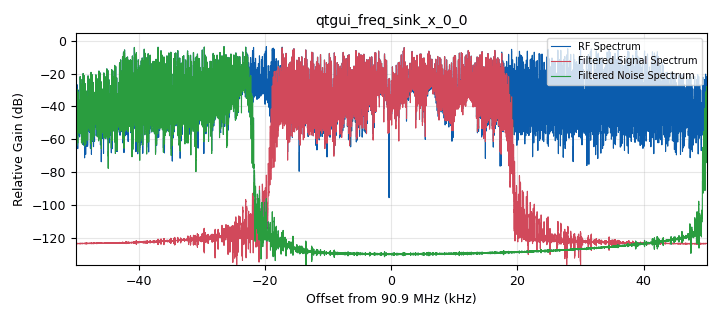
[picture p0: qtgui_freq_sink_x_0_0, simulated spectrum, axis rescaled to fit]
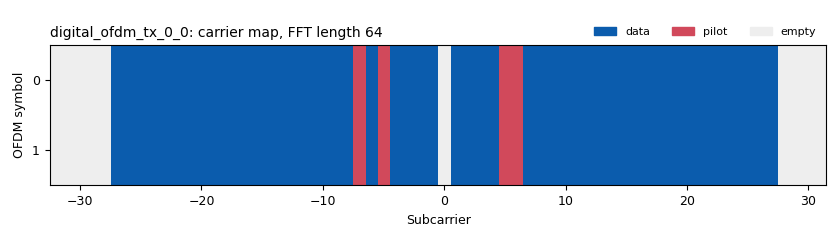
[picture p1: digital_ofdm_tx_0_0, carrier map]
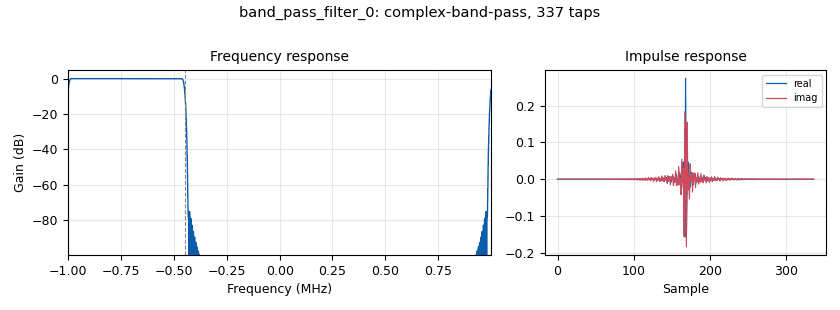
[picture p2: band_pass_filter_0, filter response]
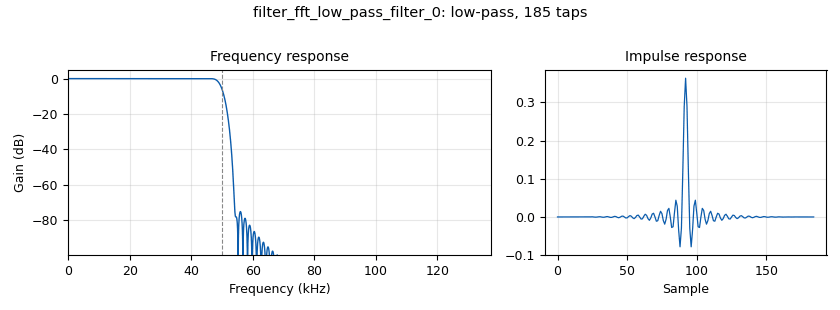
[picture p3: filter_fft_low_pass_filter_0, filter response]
options:
  parameters:
    author: amangrandhi
    generate_options: qt_gui
    id: OFDM_Signal_Analyzer
    output_language: python
    title: Not titled yet
  states: {}

blocks:
- name: cf
  id: variable
  parameters:
    value: 90.9e6
  states: {}
- name: fft_len
  id: variable
  parameters:
    value: '64'
  states: {}
- name: freq_offset
  id: variable_qtgui_range
  parameters:
    label: Frequency Offset (Multiples of Sub-carrier spacing)
    start: '-3'
    step: '.01'
    stop: '3'
    value: '0'
  states: {}
- name: intSize
  id: variable
  parameters:
    value: '250000'
  states: {}
- name: len_tag_key
  id: variable
  parameters:
    value: '"packet_len"'
  states: {}
- name: noisePowerLabel
  id: variable_qtgui_label
  parameters:
    gui_hint: 0,3,1,3
    label: 'Noise Power (dBfs): '
    type: real
    value: variable_function_probe_noise
  states: {}
- name: noise_voltage
  id: variable_qtgui_range
  parameters:
    label: Noise Amplitude
    start: '0'
    step: '.01'
    stop: '1'
    value: '0.1'
  states: {}
- name: packet_len
  id: variable
  parameters:
    value: '50'
  states: {}
- name: samp_rate
  id: variable
  parameters:
    value: '100000'
  states: {}
- name: signalPowerLabel
  id: variable_qtgui_label
  parameters:
    gui_hint: 0,0,1,3
    label: 'Signal Power (dBfs): '
    type: real
    value: variable_function_probe_signal
  states: {}
- name: snr
  id: variable_qtgui_label
  parameters:
    gui_hint: 0,6,1,3
    label: 'SNR (dB): '
    type: real
    value: variable_function_probe_signal-variable_function_probe_noise
  states: {}
- name: variable_function_probe_noise
  id: variable_function_probe
  parameters:
    block_id: probeSignalPowerNoise
    function_name: level
    poll_rate: '10'
    value: '0'
  states: {}
- name: variable_function_probe_signal
  id: variable_function_probe
  parameters:
    block_id: probeSignalPower
    function_name: level
    poll_rate: '10'
    value: '0'
  states: {}
- name: band_pass_filter_0
  id: band_pass_filter
  parameters:
    comment: |-
      Filter the noise to
      measure it.
    decim: '1'
    gain: '1'
    high_cutoff_freq: '-450e3'
    low_cutoff_freq: '-1000e3'
    samp_rate: 2e6
    type: fir_filter_ccc
    width: 20e3
    win: window.WIN_BLACKMAN
  states: {}
- name: band_pass_filter_1
  id: band_pass_filter
  parameters:
    decim: '1'
    gain: '1'
    high_cutoff_freq: 100e3
    low_cutoff_freq: '-100e3'
    samp_rate: 200e3
    type: fir_filter_ccf
    width: 20e3
    win: window.WIN_BLACKMAN
  states: {state: disabled}
- name: blocks_complex_to_mag_squared_0
  id: blocks_complex_to_mag_squared
  parameters:
    comment: Calculate the signal power.
  states: {}
- name: blocks_complex_to_mag_squared_0_0
  id: blocks_complex_to_mag_squared
  parameters:
    comment: Calculate the noise power.
  states: {}
- name: blocks_float_to_complex_0
  id: blocks_float_to_complex
  parameters: {}
  states: {state: disabled}
- name: blocks_moving_average_xx_0
  id: blocks_moving_average_xx
  parameters:
    comment: |-
      Average the signal
      power.
    length: intSize
    max_iter: intSize
    scale: 1/intSize
    type: float
  states: {}
- name: blocks_moving_average_xx_0_0
  id: blocks_moving_average_xx
  parameters:
    comment: |-
      Average the noise
      power.
    length: intSize
    max_iter: intSize
    scale: 1/intSize
    type: float
  states: {}
- name: blocks_multiply_const_vxx_0
  id: blocks_multiply_const_vxx
  parameters:
    const: '2'
    type: complex
  states: {}
- name: blocks_nlog10_ff_0
  id: blocks_nlog10_ff
  parameters:
    comment: |-
      Convert the signal power 
      to logarithmic (decibel)
      scale.
    k: '0'
    n: '10'
  states: {}
- name: blocks_nlog10_ff_0_0
  id: blocks_nlog10_ff
  parameters:
    comment: |-
      Convert the noise power 
      to logarithmic (decibel)
      scale.
    k: '0'
    n: '10'
  states: {}
- name: blocks_stream_to_tagged_stream_0
  id: blocks_stream_to_tagged_stream
  parameters:
    len_tag_key: len_tag_key
    packet_len: packet_len
    type: byte
  states: {}
- name: blocks_tag_debug_0
  id: blocks_tag_debug
  parameters:
    display: 'False'
    name: Rx Packets
    type: byte
  states: {state: disabled}
- name: blocks_throttle2_0
  id: blocks_throttle2
  parameters:
    samples_per_second: samp_rate
    type: complex
  states: {}
- name: blocks_throttle_0
  id: blocks_throttle
  parameters:
    samples_per_second: samp_rate
    type: complex
  states: {}
- name: blocks_uchar_to_float_0
  id: blocks_uchar_to_float
  parameters: {}
  states: {state: disabled}
- name: blocks_vector_source_x_0
  id: blocks_vector_source_x
  parameters:
    repeat: 'True'
    tags: ()
    type: byte
    vector: range(packet_len)
  states: {}
- name: channels_channel_model_0
  id: channels_channel_model
  parameters:
    block_tags: 'True'
    epsilon: '1.0'
    freq_offset: freq_offset * 1.0/fft_len
    noise_voltage: noise_voltage
    seed: '0'
    taps: 1.0 + 1.0j
  states: {}
- name: digital_ofdm_rx_0
  id: digital_ofdm_rx
  parameters:
    cp_len: fft_len//4
    fft_len: fft_len
    header_mod: '"BPSK"'
    occupied_carriers: ((-4,-3,-2,-1,1,2,3,4),)
    packet_len_key: '"rx_len"'
    payload_mod: '"QPSK"'
    pilot_carriers: ((-6,-5,5,6),)
    pilot_symbols: ((-1,1,-1,1),)
    sync_word1: None
    sync_word2: None
  states: {state: disabled}
- name: digital_ofdm_tx_0_0
  id: digital_ofdm_tx
  parameters:
    cp_len: fft_len//4
    fft_len: fft_len
    header_mod: '"BPSK"'
    occupied_carriers: ((-27, -26, -25, -24, -23, -22, -21, -20, -19, -18, -17, -16, -15, -14, -13, -12, -11, -10, -9, -8, -6, -4, -3, -2, -1, 1, 2, 3, 4, 7, 8, 9, 10, 11, 12, 13, 14, 15, 16, 17, 18, 19, 20, 21, 22, 23, 24, 25, 26, 27),)
    packet_len_key: len_tag_key
    payload_mod: '"QPSK"'
    pilot_carriers: ((-7,-5,5,6),)
    pilot_symbols: ((-1,1,-1,1),)
    rolloff: '0'
    sync_word1: None
    sync_word2: None
  states: {}
- name: filter_fft_low_pass_filter_0
  id: filter_fft_low_pass_filter
  parameters:
    comment: |-
      Filter the FM broadcast
      signal.
    cutoff_freq: 50e3
    decim: '1'
    gain: '1'
    samp_rate: 275e3
    type: ccc
    width: 5e3
    win: window.WIN_BLACKMAN
  states: {}
- name: probeSignalPower
  id: blocks_probe_signal_x
  parameters:
    type: float
  states: {}
- name: probeSignalPowerNoise
  id: blocks_probe_signal_x
  parameters:
    type: float
  states: {}
- name: qtgui_freq_sink_x_0
  id: qtgui_freq_sink_x
  parameters:
    bw: samp_rate
    fc: '0'
    fftsize: '1024'
    label1: Rx Spectrum
    name: Rx Spectrum
    showports: 'True'
    type: complex
  states: {state: disabled}
- name: qtgui_freq_sink_x_0_0
  id: qtgui_freq_sink_x
  parameters:
    bw: samp_rate
    color1: '"black"'
    color2: '"green"'
    color3: '"red"'
    fc: cf
    fftsize: '8192'
    grid: 'True'
    gui_hint: 1,0,5,10
    label1: RF Spectrum
    label2: Filtered Signal Spectrum
    label3: Filtered Noise Spectrum
    nconnections: '3'
    type: complex
    wintype: window.WIN_FLATTOP
    ymax: '-10'
    ymin: '-110'
  states: {}
- name: virtual_sink_0
  id: virtual_sink
  parameters:
    stream_id: signalSpectrum
  states: {}
- name: virtual_sink_1
  id: virtual_sink
  parameters:
    stream_id: noiseSpectrum
  states: {}
- name: virtual_sink_2
  id: virtual_sink
  parameters: {}
  states: {}
- name: virtual_source_0
  id: virtual_source
  parameters:
    stream_id: signalSpectrum
  states: {}
- name: virtual_source_1
  id: virtual_source
  parameters:
    stream_id: noiseSpectrum
  states: {}
- name: virtual_source_2
  id: virtual_source
  parameters: {}
  states: {}

connections:
- [band_pass_filter_0, '0', blocks_complex_to_mag_squared_0_0, '0']
- [band_pass_filter_0, '0', virtual_sink_1, '0']
- [band_pass_filter_1, '0', blocks_complex_to_mag_squared_0, '0']
- [band_pass_filter_1, '0', virtual_sink_0, '0']
- [blocks_complex_to_mag_squared_0, '0', blocks_moving_average_xx_0, '0']
- [blocks_complex_to_mag_squared_0_0, '0', blocks_moving_average_xx_0_0, '0']
- [blocks_float_to_complex_0, '0', blocks_throttle2_0, '0']
- [blocks_moving_average_xx_0, '0', blocks_nlog10_ff_0, '0']
- [blocks_moving_average_xx_0_0, '0', blocks_nlog10_ff_0_0, '0']
- [blocks_multiply_const_vxx_0, '0', blocks_throttle2_0, '0']
- [blocks_nlog10_ff_0, '0', probeSignalPower, '0']
- [blocks_nlog10_ff_0_0, '0', probeSignalPowerNoise, '0']
- [blocks_stream_to_tagged_stream_0, '0', digital_ofdm_tx_0_0, '0']
- [blocks_throttle2_0, '0', band_pass_filter_0, '0']
- [blocks_throttle2_0, '0', band_pass_filter_1, '0']
- [blocks_throttle2_0, '0', filter_fft_low_pass_filter_0, '0']
- [blocks_throttle2_0, '0', qtgui_freq_sink_x_0_0, '0']
- [blocks_throttle_0, '0', virtual_sink_2, '0']
- [blocks_vector_source_x_0, '0', blocks_stream_to_tagged_stream_0, '0']
- [channels_channel_model_0, '0', blocks_throttle_0, '0']
- [digital_ofdm_rx_0, '0', blocks_tag_debug_0, '0']
- [digital_ofdm_rx_0, '0', blocks_uchar_to_float_0, '0']
- [digital_ofdm_tx_0_0, '0', channels_channel_model_0, '0']
- [filter_fft_low_pass_filter_0, '0', blocks_complex_to_mag_squared_0, '0']
- [filter_fft_low_pass_filter_0, '0', virtual_sink_0, '0']
- [virtual_source_0, '0', qtgui_freq_sink_x_0_0, '1']
- [virtual_source_1, '0', qtgui_freq_sink_x_0_0, '2']
- [virtual_source_2, '0', blocks_float_to_complex_0, '0']
- [virtual_source_2, '0', blocks_multiply_const_vxx_0, '0']

metadata:
  file_format: 1
  grc_version: 3.10.9.2
